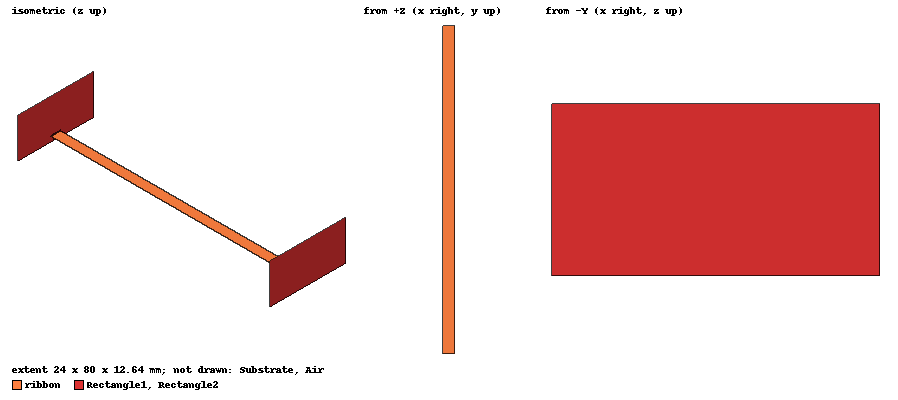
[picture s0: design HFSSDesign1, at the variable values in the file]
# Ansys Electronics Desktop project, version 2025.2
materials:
  vacuum: permittivity=1
  FR4_epoxy: permittivity=4.4 dielectric_loss_tangent=0.02
  copper: permeability=0.999991 conductivity=58000000

design HFSSDesign1 (HFSS, HFSS Terminal Network, model units mm)
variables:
  w_sub = 50mm
  l_sub = 80mm
  h = 1.58mm
  l0 = 60mm
  e = 35um
  w = 3mm
  wr = 15
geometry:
  Substrate [FR4_epoxy] = box(corner=(-w_sub/2, -l_sub/2, 0), size=(w_sub, l_sub, h))
  Air [vacuum] = box(corner=(-w_sub/2, -l_sub/2, h), size=(w_sub, l_sub, l0/4))
  ribbon [copper] = box(corner=(-w/2, -l_sub/2, h), size=(w, l_sub, e))
  Rectangle1 = rectangle(corner=(-4*w, -l_sub/2, 0mm), z_size=8*h, x_size=8*w)
  Rectangle2 = rectangle(corner=(-4*w, l_sub/2, 0mm), z_size=8*h, x_size=8*w)
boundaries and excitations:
  Rad1: Radiation Faces=Substrate.face(-y, +x, +y) Air.face(-y, +x, +y, -x)
  PerfE1: Perfect E Faces=Substrate.face(-z)
  1: Wave Port Objects=Rectangle1 WavePortType=Modal NumModes=1 Modes{Mode1{IntLine{(0, -40, 0) -> (0, -40, 1.615)} CharImp=Zpi}}
  2: Wave Port Objects=Rectangle2 WavePortType=Modal NumModes=1 Modes{Mode1{IntLine{(0, 40, 0) -> (0, 40, 1.615)} CharImp=Zpi}}
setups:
  Setup1: HfssDriven Frequency=5GHz MaxDeltaS=0.02 MaximumPasses=6 MinimumPasses=1 MinimumConvergedPasses=1 PercentRefinement=30 BasisOrder=1 PortAccuracy=2 DrivenSolverType="Direct Solver"
    sweep Sweep: 1GHz to 8GHz, 51 points; Type=Discrete
  Setup2: HfssDriven Frequency=5GHz MaxDeltaS=0.01 MaximumPasses=12 MinimumPasses=1 MinimumConvergedPasses=1 PercentRefinement=30 BasisOrder=1 PortAccuracy=2 DrivenSolverType="Direct Solver"
    sweep Sweep: 1GHz to 8GHz, 51 points; Type=Discrete
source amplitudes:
  1:1: 1V 0deg
  2:1: 0V 0deg
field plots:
  Mag_H1: H Field over Substrate.face(all 6) Air.face(all 6) ribbon.face(all 6) Rectangle1.face Rectangle2.face on Setup2 : LastAdaptive at Freq=5GHz Phase=0deg
  Mag_E1: E Field over Substrate.face(all 6) Air.face(all 6) ribbon.face(all 6) Rectangle1.face Rectangle2.face on Setup2 : LastAdaptive at Freq=5GHz Phase=0deg
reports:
  S Parameter Plot1: dB(S(1,1)), dB(S(2,1)) vs Freq on Setup2 : Sweep; markers MX1 at x=5.0039062e+09
  Terminal S Parameter Plot1: ang_deg(St(2,1)) vs Freq on Setup2 : Sweep; markers m1 at 5GHz, MX1 at x=4.9998676e+09
  Terminal S Parameter Plot2: cang_deg(St(2,1)) vs Freq on Setup2 : Sweep; markers MX1 at x=4.9993579e+09
